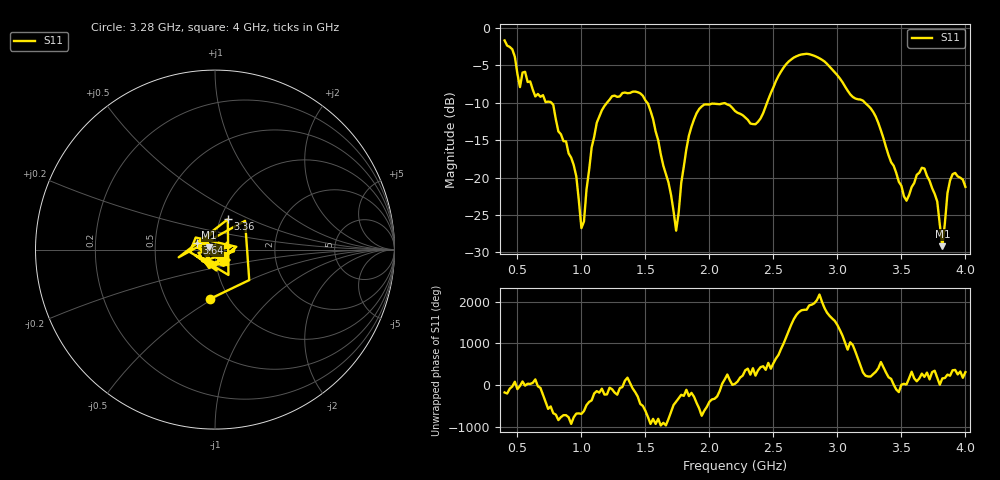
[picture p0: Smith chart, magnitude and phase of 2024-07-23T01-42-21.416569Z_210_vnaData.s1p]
!Created with skrf (http://scikit-rf.org).
# Hz S RI R 50.0
!freq ReS11 ImS11
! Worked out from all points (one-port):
!   181 points, 400 MHz to 4 GHz, reference 50 ohm
!   lowest |S11| = -29.2 dB at 3.82 GHz (marker M1), VSWR 1.07, Z = 46.8 + j1.15 ohm
!   |S11| at or under -10 dB: 766.5 MHz to 1.199 GHz (432.5 MHz wide, 44 % of centre); 1.515 GHz to 2.45 GHz (934.6 MHz wide, 47.1 % of centre); 3.217 GHz to end of sweep
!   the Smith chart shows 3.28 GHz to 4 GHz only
!   S11 on the Smith chart (normalised r, x): 3.28 GHz: 0.82, -0.49; 3.36 GHz: 1.08, +0.38; 3.64 GHz: 0.81, +0.06; 4 GHz: 1.11, -0.15
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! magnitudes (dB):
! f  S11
! 400 MHz  -1.7
! 480 MHz  -3.8
! 520 MHz  -7.9
! 560 MHz  -5.8
! 780 MHz  -10.2
! 860 MHz  -15.1
! 960 MHz  -19.8
! 1 GHz  -26.7
! 1.12 GHz  -12.7
! 1.3 GHz  -9.1
! 1.52 GHz  -10.1
! 1.74 GHz  -27.1
! 1.76 GHz  -24.6
! 1.82 GHz  -16.2
! 1.9 GHz  -11.4
! 2.2 GHz  -11.1
! 2.36 GHz  -12.9
! 2.66 GHz  -3.9
! 2.88 GHz  -4.2
! 3.1 GHz  -8.9
! 3.28 GHz  -11.2
! 3.36 GHz  -14.7
! 3.56 GHz  -22.3
! 3.64 GHz  -19.3
! 3.78 GHz  -23.2
! 3.82 GHz  -29.2
! 3.88 GHz  -20.4
! 4 GHz  -21.2
